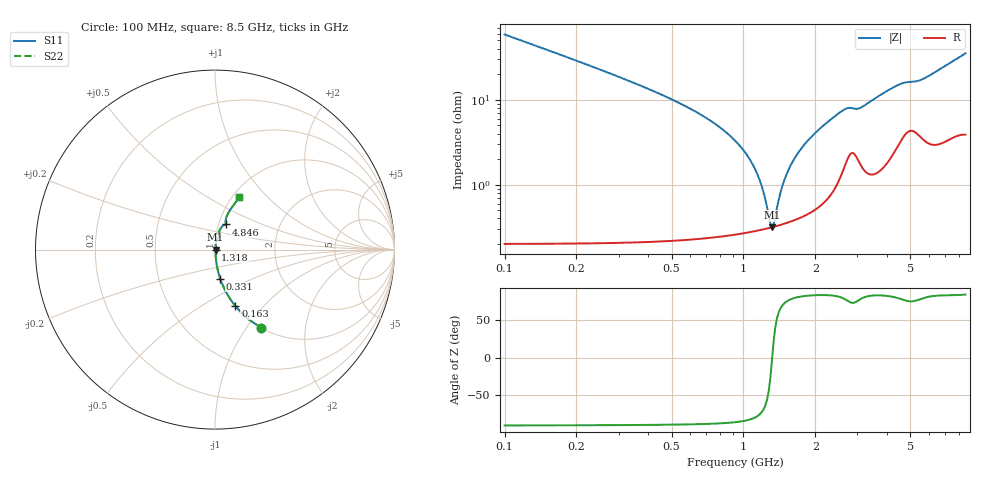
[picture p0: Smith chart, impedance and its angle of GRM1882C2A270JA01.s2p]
!Murata Part Number: GRM1882C2A270JA01
!These Parameters are Measured in Series Mode Connection
!Data Generated on Mar 30, 2021
!  o--ll--o
!Port1  Port2
!  o------o
!Operation Temp=25[degC], DC Bias Voltage=0[V]
!Freq. Start=100[MHz] Stop=9[GHz] 401[Steps]
# Hz S RI R 50
!Freq.(Hz) S11(Real) S11(Imag) S21(Real) S21(Imag) S12(Real) S12(Imag) S22(Real) S22(Imag)
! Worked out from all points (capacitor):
!   401 points, 100 MHz to 8.5 GHz, reference 50 ohm
!   read as one part in series: C = 27 pF near 142 MHz
!   lowest |Z| = 316 mohm at 1.318 GHz (marker M1)
!   series resonance near 1.319 GHz, so ESL is about 540 pH
!   S11 on the Smith chart (normalised r, x): 100 MHz: 1.00, -1.17; 163 MHz: 1.00, -0.71; 331 MHz: 1.00, -0.33; 1.318 GHz: 1.01, -0.00; 4.846 GHz: 1.08, +0.31; 8.5 GHz: 1.08, +0.70
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1e8  0.2564 -0.435  0.7436 0.435  0.7436 0.435  0.2564 -0.435
1.63e8  0.114 -0.315  0.886 0.315  0.886 0.315  0.114 -0.315
3.31e8  0.029 -0.1618  0.971 0.1618  0.971 0.1618  0.029 -0.1618
8.56e8  0.00409 -0.0399  0.9959 0.0399  0.9959 0.0399  0.00409 -0.0399
1.024e9  0.00323 -0.023  0.9968 0.023  0.9968 0.023  0.00323 -0.023
1.15e9  0.00303 -0.0124  0.997 0.0124  0.997 0.0124  0.00303 -0.0124
1.213e9  0.00303 -0.00759  0.997 0.00759  0.997 0.00759  0.00303 -0.00759
1.276e9  0.00308 -0.00302  0.9969 0.00302  0.9969 0.00302  0.00308 -0.00302
1.318e9  0.00314 -9.57e-05  0.9969 9.57e-05  0.9969 9.57e-05  0.00314 -9.57e-05
1.36e9  0.00323 0.00274  0.9968 -0.00274  0.9968 -0.00274  0.00323 0.00274
1.444e9  0.00345 0.0082  0.9966 -0.0082  0.9966 -0.0082  0.00345 0.0082
1.507e9  0.00366 0.0121  0.9963 -0.0121  0.9963 -0.0121  0.00366 0.0121
1.591e9  0.00399 0.0172  0.996 -0.0172  0.996 -0.0172  0.00399 0.0172
1.717e9  0.00462 0.0245  0.9954 -0.0245  0.9954 -0.0245  0.00462 0.0245
2.032e9  0.00696 0.0417  0.993 -0.0417  0.993 -0.0417  0.00696 0.0417
2.599e9  0.019 0.0707  0.981 -0.0707  0.981 -0.0707  0.019 0.0707
2.914e9  0.0276 0.0713  0.9724 -0.0713  0.9724 -0.0713  0.0276 0.0713
4.3e9  0.042 0.1313  0.958 -0.1313  0.958 -0.1313  0.042 0.1313
4.846e9  0.0604 0.1404  0.9396 -0.1404  0.9396 -0.1404  0.0604 0.1404
5.707e9  0.0591 0.1591  0.9409 -0.1591  0.9409 -0.1591  0.0591 0.1591
7.114e9  0.0873 0.2252  0.9127 -0.2252  0.9127 -0.2252  0.0873 0.2252
8.5e9  0.1355 0.2913  0.8645 -0.2913  0.8645 -0.2913  0.1355 0.2913
